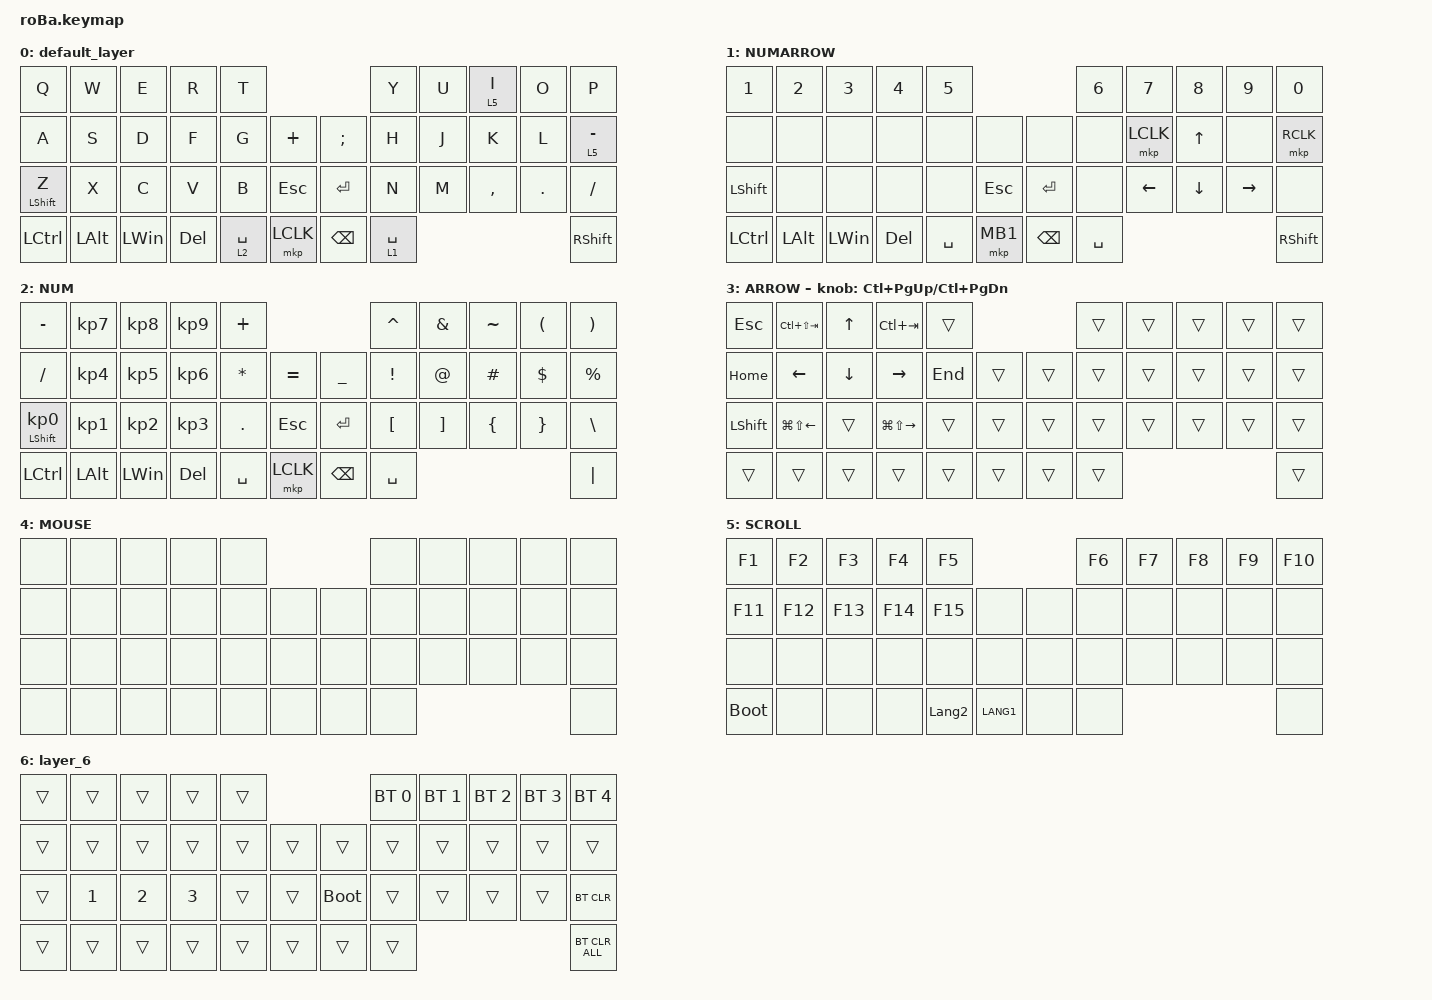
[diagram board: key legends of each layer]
#include <behaviors.dtsi>
#include <dt-bindings/zmk/bt.h>
#include <dt-bindings/zmk/keys.h>
#include <dt-bindings/zmk/pointing.h>

#define MOUSE 4
#define SCROLL 5
#define NUM 6

&mt {
    flavor = "balanced";
    quick-tap-ms = <0>;
};

/ {
    combos {
        compatible = "zmk,combos";

        tab {
            bindings = <&kp TAB>;
            key-positions = <0 1>;
        };

        double_quotation {
            bindings = <&kp DOUBLE_QUOTES>;
            key-positions = <5 6>;
        };

        eq {
            bindings = <&kp EQUAL>;
            key-positions = <24 25>;
        };
    };

    macros {
        to_layer_0: to_layer_0 {
            compatible = "zmk,behavior-macro-one-param";
            #binding-cells = <1>;
            bindings = <&to 0 &macro_param_1to1 &kp MACRO_PLACEHOLDER>;
            label = "TO_LAYER_0";
        };
    };

    behaviors {
        lt_to_layer_0: lt_to_layer_0 {
            compatible = "zmk,behavior-hold-tap";
            label = "LAYER_TAP_TO_0";
            bindings = <&mo>, <&to_layer_0>;

            #binding-cells = <2>;
            tapping-term-ms = <300>;
            flavor = "tap-preferred";
        };
    };

    keymap {
        compatible = "zmk,keymap";

        default_layer {
            bindings = <
&kp Q             &kp W         &kp E         &kp R    &kp T                                       &kp Y        &kp U  &lt 5 I    &kp O    &kp P
&kp A             &kp S         &kp D         &kp F    &kp G        &kp PLUS        &kp SEMICOLON  &kp H        &kp J  &kp K      &kp L    &lt 5 MINUS
&mt LEFT_SHIFT Z  &kp X         &kp C         &kp V    &kp B        &kp ESCAPE      &kp RET        &kp N        &kp M  &kp COMMA  &kp DOT  &kp SLASH
&kp LCTRL         &kp LEFT_ALT  &kp LEFT_WIN  &kp DEL  &lt 2 SPACE  &mkp LCLK       &kp BACKSPACE  &lt 1 SPACE                             &kp RIGHT_SHIFT
            >;
        };

        NUMARROW {
            bindings = <
&kp NUMBER_1    &kp NUMBER_2  &kp NUMBER_3  &kp NUMBER_4  &kp N5                                    &kp NUMBER_6  &kp N7          &kp N8          &kp N9           &kp N0
&none           &none         &none         &none         &none      &none           &none          &none         &mkp LCLK       &kp UP_ARROW    &none            &mkp RCLK
&kp LEFT_SHIFT  &none         &none         &none         &none      &kp ESCAPE      &kp RET        &none         &kp LEFT_ARROW  &kp DOWN_ARROW  &kp RIGHT_ARROW  &none
&kp LCTRL       &kp LEFT_ALT  &kp LEFT_WIN  &kp DEL       &kp SPACE  &mkp MB1        &kp BACKSPACE  &kp SPACE                                                      &kp RIGHT_SHIFT
            >;
        };

        NUM {
            bindings = <
&kp MINUS                   &kp KP_NUMBER_7  &kp KP_NUMBER_8  &kp KP_NUMBER_9  &kp PLUS                                      &kp CARET         &kp AMPERSAND      &kp TILDE       &kp LEFT_PARENTHESIS  &kp RIGHT_PARENTHESIS
&kp SLASH                   &kp KP_NUMBER_4  &kp KP_NUMBER_5  &kp KP_NUMBER_6  &kp ASTERISK  &kp EQUAL       &kp UNDERSCORE  &kp EXCLAMATION   &kp AT_SIGN        &kp HASH        &kp DOLLAR            &kp PERCENT
&mt LEFT_SHIFT KP_NUMBER_0  &kp KP_NUMBER_1  &kp KP_NUMBER_2  &kp KP_NUMBER_3  &kp PERIOD    &kp ESCAPE      &kp RET         &kp LEFT_BRACKET  &kp RIGHT_BRACKET  &kp LEFT_BRACE  &kp RIGHT_BRACE       &kp BACKSLASH
&kp LEFT_CONTROL            &kp LEFT_ALT     &kp LEFT_WIN     &kp DELETE       &kp SPACE     &mkp LCLK       &kp BACKSPACE   &kp SPACE                                                                  &kp PIPE
            >;
        };

        ARROW {
            bindings = <
&kp ESCAPE      &kp LC(LS(TAB))         &kp UP_ARROW    &kp LC(TAB)              &trans                       &trans  &trans  &trans  &trans  &trans
&kp HOME        &kp LEFT_ARROW          &kp DOWN_ARROW  &kp RIGHT_ARROW          &kp END  &trans      &trans  &trans  &trans  &trans  &trans  &trans
&kp LEFT_SHIFT  &kp LG(LS(LEFT_ARROW))  &trans          &kp LG(LS(RIGHT_ARROW))  &trans   &trans      &trans  &trans  &trans  &trans  &trans  &trans
&trans          &trans                  &trans          &trans                   &trans   &trans      &trans  &trans                          &trans
            >;

            sensor-bindings = <&inc_dec_kp LC(PAGE_UP) LC(PAGE_DOWN)>;
        };

        MOUSE {
            bindings = <
&none  &none  &none  &none  &none                    &none  &none  &none  &none  &none
&none  &none  &none  &none  &none  &none      &none  &none  &none  &none  &none  &none
&none  &none  &none  &none  &none  &none      &none  &none  &none  &none  &none  &none
&none  &none  &none  &none  &none  &none      &none  &none                       &none
            >;
        };

        SCROLL {
            bindings = <
&kp F1       &kp F2   &kp F3   &kp F4   &kp F5                                &kp F6  &kp F7  &kp F8  &kp F9  &kp F10
&kp F11      &kp F12  &kp F13  &kp F14  &kp F15         &none          &none  &none   &none   &none   &none   &none
&none        &none    &none    &none    &none           &none          &none  &none   &none   &none   &none   &none
&bootloader  &none    &none    &none    &kp LANGUAGE_2  &kp LANG1      &none  &none                           &none
            >;
        };

        layer_6 {
            bindings = <
&trans  &trans        &trans        &trans        &trans                           &bt BT_SEL 0  &bt BT_SEL 1  &bt BT_SEL 2  &bt BT_SEL 3  &bt BT_SEL 4
&trans  &trans        &trans        &trans        &trans  &trans      &trans       &trans        &trans        &trans        &trans        &trans
&trans  &kp NUMBER_1  &kp NUMBER_2  &kp NUMBER_3  &trans  &trans      &bootloader  &trans        &trans        &trans        &trans        &bt BT_CLR
&trans  &trans        &trans        &trans        &trans  &trans      &trans       &trans                                                  &bt BT_CLR_ALL
            >;
        };
    };
};
